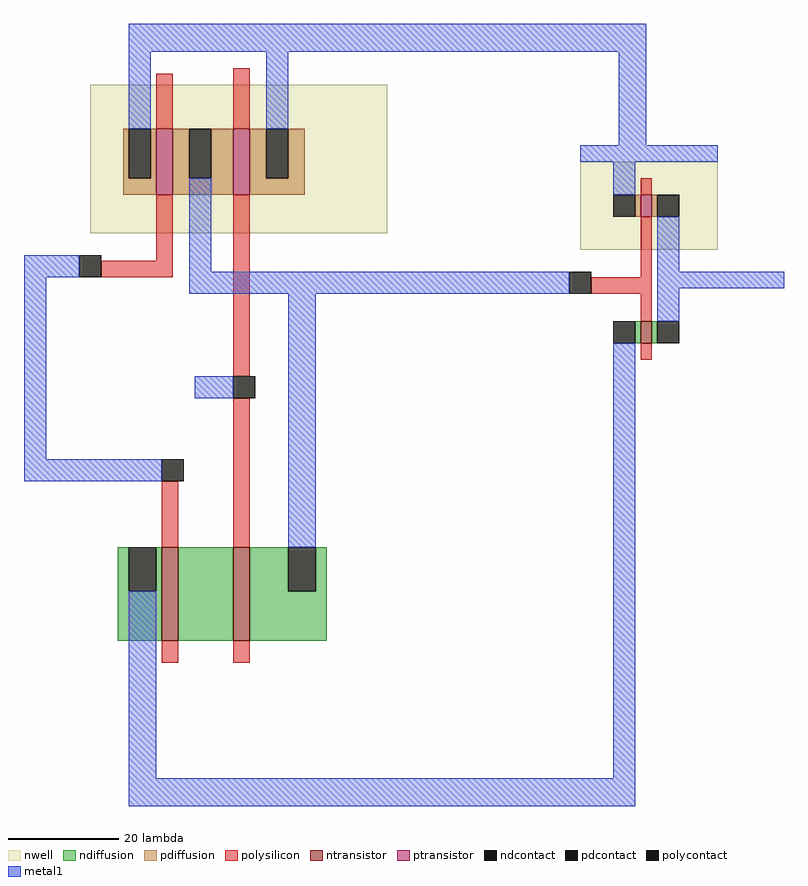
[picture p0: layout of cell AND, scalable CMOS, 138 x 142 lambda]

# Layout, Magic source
magic
tech scmos
<< nwell >>
rect -48 8 6 35
rect 41 5 66 21
<< ntransistor >>
rect 52 -12 54 -8
rect -35 -66 -32 -49
rect -22 -66 -19 -49
<< ptransistor >>
rect -36 15 -33 27
rect -22 15 -19 27
rect 52 11 54 15
<< ndiffusion >>
rect 51 -12 52 -8
rect 54 -12 55 -8
rect -43 -57 -41 -49
rect -36 -57 -35 -49
rect -43 -66 -35 -57
rect -32 -66 -22 -49
rect -19 -57 -12 -49
rect -7 -57 -5 -49
rect -19 -66 -5 -57
<< pdiffusion >>
rect -42 18 -41 27
rect -37 18 -36 27
rect -42 15 -36 18
rect -33 18 -30 27
rect -26 18 -22 27
rect -33 15 -22 18
rect -19 18 -16 27
rect -12 18 -9 27
rect -19 15 -9 18
rect 51 11 52 15
rect 54 11 55 15
<< ndcontact >>
rect 47 -12 51 -8
rect 55 -12 59 -8
rect -41 -57 -36 -49
rect -12 -57 -7 -49
<< pdcontact >>
rect -41 18 -37 27
rect -30 18 -26 27
rect -16 18 -12 27
rect 47 11 51 15
rect 55 11 59 15
<< polysilicon >>
rect -36 27 -33 37
rect -22 27 -19 38
rect 52 15 54 18
rect -36 3 -33 15
rect -46 0 -33 3
rect -22 -18 -19 15
rect 52 0 54 11
rect 43 -3 54 0
rect 52 -8 54 -3
rect 52 -15 54 -12
rect -35 -49 -32 -37
rect -22 -49 -19 -22
rect -35 -70 -32 -66
rect -22 -70 -19 -66
<< polycontact >>
rect -50 0 -46 4
rect 39 -3 43 1
rect -22 -22 -18 -18
rect -35 -37 -31 -33
<< metal1 >>
rect -41 41 53 46
rect -41 27 -37 41
rect -16 27 -12 41
rect 48 24 53 41
rect 41 21 66 24
rect -60 0 -50 4
rect -30 1 -26 18
rect 47 15 51 21
rect 55 1 59 11
rect -60 -33 -56 0
rect -30 -3 39 1
rect 55 -2 78 1
rect -29 -22 -22 -18
rect -60 -37 -35 -33
rect -12 -49 -7 -3
rect 55 -8 59 -2
rect -41 -91 -36 -57
rect 47 -91 51 -12
rect -41 -96 51 -91
<< end >>
